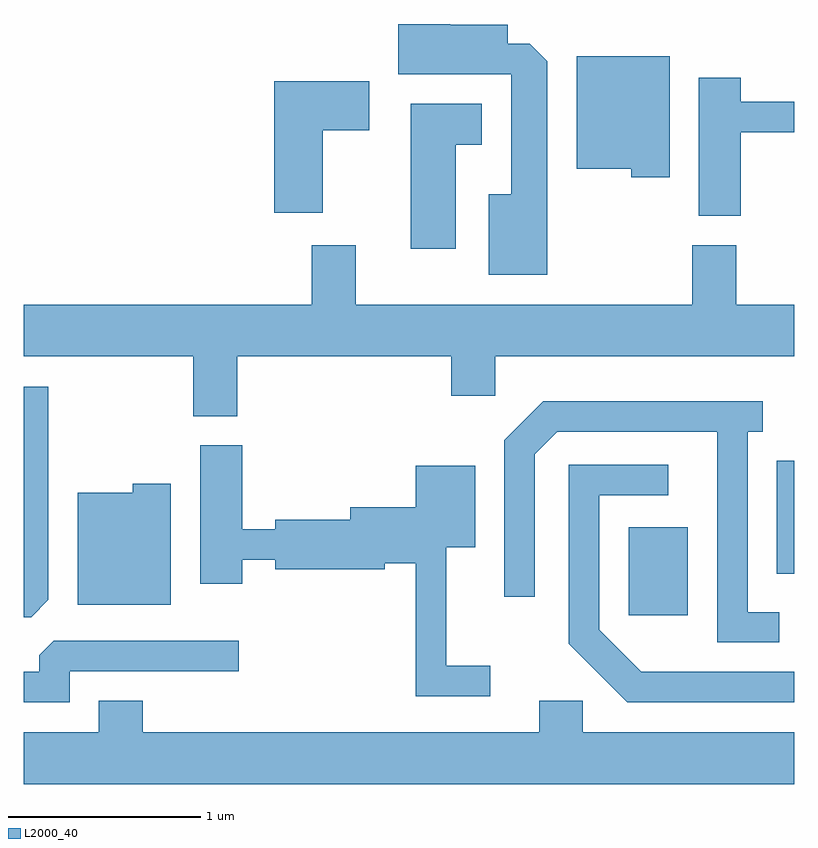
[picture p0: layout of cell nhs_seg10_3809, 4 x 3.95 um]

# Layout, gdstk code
import gdstk
lib = gdstk.Library(unit=1e-6, precision=1e-09)
def R(c, l, rs):  # rectangles x0, y0, x1, y1
    for r in rs: c.add(gdstk.rectangle(r[:2], r[2:], *l))
def P(c, l, *ps):  # polygons
    for p in ps: c.add(gdstk.Polygon(p, *l))
L2000_40 = (2000, 40)

nhs_seg10_3809 = lib.new_cell('nhs_seg10_3809')
R(nhs_seg10_3809, L2000_40, [(300.751,2121.451,301.059,2121.909), (301.521,2121.668,301.611,2122.254)])
P(nhs_seg10_3809, L2000_40, [(300.329,2124.329),(300.239,2124.419),(300.124,2124.419),(300.124,2124.519),(299.824,2124.519),(299.824,2124.522),(299.556,2124.522),(299.556,2124.261),(300.141,2124.261),(300.141,2123.639),(300.026,2123.639),(300.026,2123.221),(300.329,2123.221)],
  [(300.964,2124.354),(300.481,2124.354),(300.481,2123.771),(300.766,2123.771),(300.766,2123.726),(300.964,2123.726)],
  [(301.334,2123.961),(301.611,2123.961),(301.611,2124.119),(301.334,2124.119),(301.334,2124.244),(301.116,2124.244),(301.116,2123.526),(301.334,2123.526)],
  [(299.164,2123.971),(299.404,2123.971),(299.404,2124.224),(298.911,2124.224),(298.911,2123.541),(299.164,2123.541)],
  [(299.854,2123.896),(299.989,2123.896),(299.989,2124.109),(299.621,2124.109),(299.621,2123.356),(299.854,2123.356)],
  [(298.719,2122.796),(299.831,2122.796),(299.831,2122.591),(300.059,2122.591),(300.059,2122.796),(301.611,2122.796),(301.611,2123.064),(301.309,2123.064),(301.309,2123.374),(301.081,2123.374),(301.081,2123.064),(299.334,2123.064),(299.334,2123.374),(299.106,2123.374),(299.106,2123.064),(297.611,2123.064),(297.611,2122.796),(298.491,2122.796),(298.491,2122.486),(298.719,2122.486)],
  [(297.739,2121.532),(297.739,2122.639),(297.611,2122.639),(297.611,2121.441),(297.649,2121.441)],
  [(301.533,2121.469),(301.369,2121.469),(301.369,2122.406),(301.448,2122.406),(301.448,2122.564),(300.309,2122.564),(300.106,2122.362),(300.106,2121.548),(300.264,2121.548),(300.264,2122.289),(300.382,2122.406),(301.211,2122.406),(301.211,2121.311),(301.533,2121.311)],
  [(300.033,2121.189),(299.804,2121.189),(299.804,2121.806),(299.954,2121.806),(299.954,2122.229),(299.646,2122.229),(299.646,2122.014),(299.306,2122.014),(299.306,2121.949),(298.916,2121.949),(298.916,2121.899),(298.744,2121.899),(298.744,2122.334),(298.526,2122.334),(298.526,2121.616),(298.744,2121.616),(298.744,2121.741),(298.916,2121.741),(298.916,2121.691),(299.484,2121.691),(299.484,2121.721),(299.646,2121.721),(299.646,2121.031),(300.033,2121.031)],
  [(301.611,2121.159),(300.817,2121.159),(300.599,2121.377),(300.599,2122.076),(300.958,2122.076),(300.958,2122.234),(300.441,2122.234),(300.441,2121.304),(300.744,2121.001),(301.611,2121.001)],
  [(298.374,2122.134),(298.176,2122.134),(298.176,2122.089),(297.891,2122.089),(297.891,2121.506),(298.374,2121.506)],
  [(297.849,2121.161),(298.728,2121.161),(298.728,2121.319),(297.767,2121.319),(297.691,2121.244),(297.691,2121.159),(297.611,2121.159),(297.611,2121.001),(297.849,2121.001)],
  [(301.611,2120.844),(300.514,2120.844),(300.514,2121.009),(300.286,2121.009),(300.286,2120.844),(298.229,2120.844),(298.229,2121.009),(298.001,2121.009),(298.001,2120.844),(297.611,2120.844),(297.611,2120.576),(301.611,2120.576)])

lib.write_gds('nhs_seg10_3809.gds')
